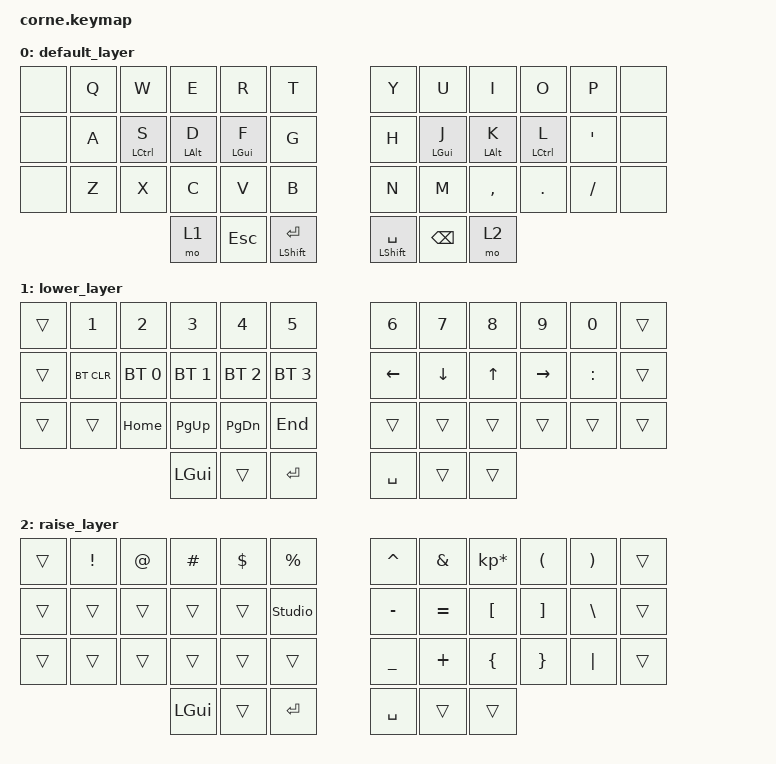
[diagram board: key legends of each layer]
/*
 * Copyright (c) 2020 The ZMK Contributors
 *
 * SPDX-License-Identifier: MIT
 */

#include <behaviors.dtsi>
#include <dt-bindings/zmk/keys.h>
#include <dt-bindings/zmk/bt.h>
#include <dt-bindings/zmk/rgb.h>

&led_strip {
    chain-length = <27>;
};

&mt {
        tapping-term-ms = <400>;
        quick-tap-ms = <175>;
        require-prior-idle-ms = <150>;
        flavor = "balanced";
};


/ {
        
             keymap {
                compatible = "zmk,keymap";

                default_layer {
// -----------------------------------------------------------------------------------------
// | none |  Q  |  W  |  E  |  R  |  T  |   |  Y  |  U   |  I  |  O  |  P  | none |
// | none |  A  |  S  |  D  |  F  |  G  |   |  H  |  J   |  K  |  L  |  '  | none |
// | none |  Z  |  X  |  C  |  V  |  B  |   |  N  |  M   |  ,  |  .  |  /  | none |
//                    | LWR | ESC | ENT |   | SPC | BSPC | RSE |
                        bindings = <
   &none &kp Q &kp W       &kp E      &kp R      &kp T   &kp Y   &kp U       &kp I        &kp O         &kp P    &none
   &none &kp A &mt LCTRL S &mt LALT D &mt LGUI F &kp G   &kp H   &mt LGUI J  &mt LALT K   &mt LCTRL L   &kp SQT  &none
   &none &kp Z &kp X       &kp C      &kp V      &kp B   &kp N   &kp M       &kp COMMA    &kp DOT       &kp FSLH &none
                 &mo 1 &kp ESC &mt LSHIFT RET                 &mt LSHIFT SPACE &kp BSPC &mo 2 
                        >;
                };
                lower_layer {
// -----------------------------------------------------------------------------------------
// | none |  1    |  2  |  3  |  4  |  5  |   |  6  |  7  |  8  |  9  |  0  | none |
// | none | BTCLR | BT0 | BT1 | BT2 | BT3 |   | LFT | DWN |  UP | RGT |  :  | none |
// | none |       | HOME| PGUP| PGDN| END |   |     |     |     |     |     | none |
//                      |     |     | ENT |   | SPC |     |     |
                        bindings = <
   &trans &kp N1     &kp N2       &kp N3       &kp N4       &kp N5         &kp N6   &kp N7   &kp N8  &kp N9    &kp N0  &trans
   &trans &bt BT_CLR &bt BT_SEL 0 &bt BT_SEL 1 &bt BT_SEL 2 &bt BT_SEL 3   &kp LEFT &kp DOWN &kp UP  &kp RIGHT &kp COLON  &trans
   &trans &trans     &kp HOME     &kp PG_UP    &kp PG_DN    &kp END        &trans   &trans   &trans  &trans    &trans  &trans
                                        &kp LGUI   &trans   &kp RET           &kp SPACE   &trans   &trans
                        >;
                };

                raise_layer {
// -----------------------------------------------------------------------------------------
// | none |   !   |   @   |   #   |   $   |   %   |   |  ^  |  &  |  *  |  (  |  )  | none |
// | none |       |       |       |       |STUDIO |   |  -  |  =  |  [  |  ]  |  \  | none |
// | none |       |       |       |       |       |   |  _  |  +  |  {  |  }  | "|" | none |
//                            |     |     |  ENT  |   | SPC |     |     |
                        bindings = <
   &trans &kp EXCL  &kp AT &kp HASH  &kp DLLR  &kp PRCNT      &kp CARET &kp AMPS  &kp KP_MULTIPLY &kp LPAR &kp RPAR &trans
   &trans &trans    &trans &trans    &trans    &studio_unlock &kp MINUS &kp EQUAL &kp LBKT        &kp RBKT &kp BSLH &trans
   &trans &trans    &trans &trans    &trans    &trans         &kp UNDER &kp PLUS  &kp LBRC        &kp RBRC &kp PIPE &trans
                        &kp LGUI   &trans   &kp RET             &kp SPACE   &trans    &trans
                        >;
                };
        };
};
